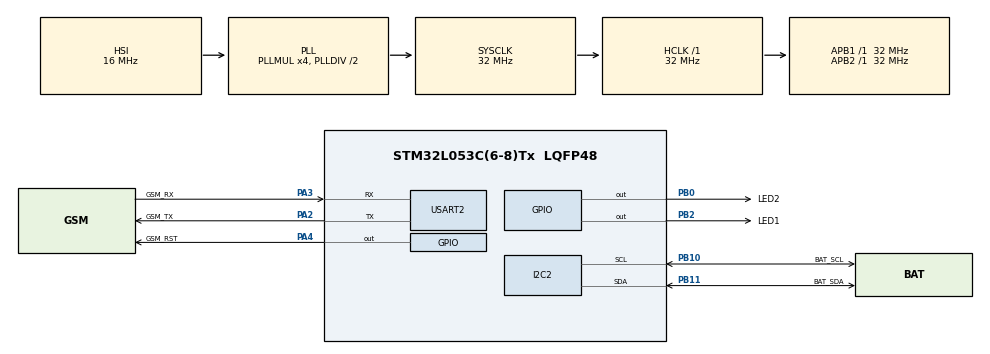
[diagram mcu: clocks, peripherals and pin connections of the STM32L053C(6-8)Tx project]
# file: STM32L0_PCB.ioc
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Dma.Request0=USART2_RX
Dma.USART2_RX.0.Direction=DMA_PERIPH_TO_MEMORY
Dma.USART2_RX.0.Instance=DMA1_Channel5
Dma.USART2_RX.0.MemDataAlignment=DMA_MDATAALIGN_BYTE
Dma.USART2_RX.0.MemInc=DMA_MINC_ENABLE
Dma.USART2_RX.0.Mode=DMA_NORMAL
Dma.USART2_RX.0.PeriphDataAlignment=DMA_PDATAALIGN_BYTE
Dma.USART2_RX.0.PeriphInc=DMA_PINC_DISABLE
Dma.USART2_RX.0.Priority=DMA_PRIORITY_LOW
I2C2.Timing=0x00707CBB
Mcu.Family=STM32L0
Mcu.Name=STM32L053C(6-8)Tx
Mcu.Package=LQFP48
NVIC.DMA1_Channel4_5_6_7_IRQn=true\:0\:0\:false\:false\:true\:false\:true
PA2.GPIO_Label=GSM_TX
PA2.Mode=Asynchronous
PA2.Signal=USART2_TX
PA3.GPIO_Label=GSM_RX
PA3.Mode=Asynchronous
PA3.Signal=USART2_RX
PA4.GPIO_Label=GSM_RST
PA4.Signal=GPIO_Output
PB0.GPIO_Label=LED2
PB0.Signal=GPIO_Output
PB10.GPIO_Label=BAT_SCL
PB10.Mode=I2C
PB10.Signal=I2C2_SCL
PB11.GPIO_Label=BAT_SDA
PB11.Mode=I2C
PB11.Signal=I2C2_SDA
PB2.GPIO_Label=LED1
PB2.Signal=GPIO_Output
ProjectManager.HeapSize=0x200
ProjectManager.StackSize=0x400
ProjectManager.TargetToolchain=SW4STM32
RCC.AHBFreq_Value=32000000
RCC.APB1Freq_Value=32000000
RCC.APB1TimFreq_Value=32000000
RCC.APB2Freq_Value=32000000
RCC.APB2TimFreq_Value=32000000
RCC.HCLKFreq_Value=32000000
RCC.HSE_VALUE=8000000
RCC.HSI16_VALUE=16000000
RCC.HSI48_VALUE=48000000
RCC.HSI_VALUE=16000000
RCC.LSE_VALUE=32768
RCC.MSI_VALUE=2097000
RCC.PLLMUL=RCC_PLLMUL_4
RCC.SYSCLKFreq_VALUE=32000000
RCC.SYSCLKSource=RCC_SYSCLKSOURCE_PLLCLK
RCC.VCOOutputFreq_Value=64000000
USART2.VirtualMode-Asynchronous=VM_ASYNC
board=custom

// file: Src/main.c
/* USER CODE BEGIN Header */
/**
  ******************************************************************************
  * @file           : main.c
  * @brief          : Main program body
  ******************************************************************************
  * @attention
  *
  * <h2><center>&copy; Copyright (c) 2019 STMicroelectronics.
  * All rights reserved.</center></h2>
  *
  * This software component is licensed by ST under BSD 3-Clause license,
  * the "License"; You may not use this file except in compliance with the
  * License. You may obtain a copy of the License at:
  *                        opensource.org/licenses/BSD-3-Clause
  *
  ******************************************************************************
  */
/* USER CODE END Header */

#include "main.h"

/* USER CODE BEGIN Includes */
#include <stdio.h>
/* USER CODE END Includes */

I2C_HandleTypeDef hi2c2;

UART_HandleTypeDef huart2;
DMA_HandleTypeDef hdma_usart2_rx;

void SystemClock_Config(void);
static void MX_GPIO_Init(void);
static void MX_DMA_Init(void);
static void MX_I2C2_Init(void);
static void MX_USART2_UART_Init(void);

int main(void)
{

  /* MCU Configuration--------------------------------------------------------*/

  /* Reset of all peripherals, Initializes the Flash interface and the Systick. */
  HAL_Init();

  /* Configure the system clock */
  SystemClock_Config();

  /* Initialize all configured peripherals */
  MX_GPIO_Init();
  MX_DMA_Init();
  MX_I2C2_Init();
  MX_USART2_UART_Init();
  /* USER CODE BEGIN 2 */

  // --- BATTERY STUFF ---
  HAL_Delay(500);

  FG_I2C_Setup(&hi2c2);

  HAL_Delay(5000);

  // If initialization succeeds
  if (GSM_Init(&huart2) == 1)
  {
      // Turn on red LED
      HAL_GPIO_WritePin(LED2_GPIO_Port, LED2_Pin, GPIO_PIN_SET);

      // If signal strength is >= 3
      if (GSM_Check_Signal(&huart2) >= 3)
      {
          if (text_update(&huart2, TWILIO_PHONE_NUMBER)) // <-- DON'T FORGET TO CHANGE THIS PHONE NUMBER
          {
              // Blink the green LED
              while(1)
              {
                  HAL_GPIO_WritePin(LED1_GPIO_Port, LED1_Pin, GPIO_PIN_SET);
                  HAL_Delay(500);
                  HAL_GPIO_WritePin(LED1_GPIO_Port, LED1_Pin, GPIO_PIN_RESET);
                  HAL_Delay(500);
              }
          }
          else
          {
              // Turn on green LED
              HAL_GPIO_WritePin(LED1_GPIO_Port, LED1_Pin, GPIO_PIN_SET);
          }
      }
      else
      {
          // Blink the red LED
          while(1)
          {
              HAL_GPIO_WritePin(LED2_GPIO_Port, LED2_Pin, GPIO_PIN_SET);
              HAL_Delay(500);
              HAL_GPIO_WritePin(LED2_GPIO_Port, LED2_Pin, GPIO_PIN_RESET);
              HAL_Delay(500);
          }
      }
  }

  /* USER CODE END 2 */

  /* Infinite loop */
  while (1)
  {

  }
}

void SystemClock_Config(void)
{
  RCC_OscInitTypeDef RCC_OscInitStruct = {0};
  RCC_ClkInitTypeDef RCC_ClkInitStruct = {0};
  RCC_PeriphCLKInitTypeDef PeriphClkInit = {0};

  /** Configure the main internal regulator output voltage
  */
  __HAL_PWR_VOLTAGESCALING_CONFIG(PWR_REGULATOR_VOLTAGE_SCALE1);
  /** Initializes the CPU, AHB and APB busses clocks
  */
  RCC_OscInitStruct.OscillatorType = RCC_OSCILLATORTYPE_HSI;
  RCC_OscInitStruct.HSIState = RCC_HSI_ON;
  RCC_OscInitStruct.HSICalibrationValue = RCC_HSICALIBRATION_DEFAULT;
  RCC_OscInitStruct.PLL.PLLState = RCC_PLL_ON;
  RCC_OscInitStruct.PLL.PLLSource = RCC_PLLSOURCE_HSI;
  RCC_OscInitStruct.PLL.PLLMUL = RCC_PLLMUL_4;
  RCC_OscInitStruct.PLL.PLLDIV = RCC_PLLDIV_2;
  if (HAL_RCC_OscConfig(&RCC_OscInitStruct) != HAL_OK)
  {
    Error_Handler();
  }
  /** Initializes the CPU, AHB and APB busses clocks
  */
  RCC_ClkInitStruct.ClockType = RCC_CLOCKTYPE_HCLK|RCC_CLOCKTYPE_SYSCLK
                              |RCC_CLOCKTYPE_PCLK1|RCC_CLOCKTYPE_PCLK2;
  RCC_ClkInitStruct.SYSCLKSource = RCC_SYSCLKSOURCE_PLLCLK;
  RCC_ClkInitStruct.AHBCLKDivider = RCC_SYSCLK_DIV1;
  RCC_ClkInitStruct.APB1CLKDivider = RCC_HCLK_DIV1;
  RCC_ClkInitStruct.APB2CLKDivider = RCC_HCLK_DIV1;

  if (HAL_RCC_ClockConfig(&RCC_ClkInitStruct, FLASH_LATENCY_1) != HAL_OK)
  {
    Error_Handler();
  }
  PeriphClkInit.PeriphClockSelection = RCC_PERIPHCLK_USART2;
  PeriphClkInit.Usart2ClockSelection = RCC_USART2CLKSOURCE_PCLK1;
  if (HAL_RCCEx_PeriphCLKConfig(&PeriphClkInit) != HAL_OK)
  {
    Error_Handler();
  }
}

static void MX_I2C2_Init(void)
{

  hi2c2.Instance = I2C2;
  hi2c2.Init.Timing = 0x00707CBB;
  hi2c2.Init.OwnAddress1 = 0;
  hi2c2.Init.AddressingMode = I2C_ADDRESSINGMODE_7BIT;
  hi2c2.Init.DualAddressMode = I2C_DUALADDRESS_DISABLE;
  hi2c2.Init.OwnAddress2 = 0;
  hi2c2.Init.OwnAddress2Masks = I2C_OA2_NOMASK;
  hi2c2.Init.GeneralCallMode = I2C_GENERALCALL_DISABLE;
  hi2c2.Init.NoStretchMode = I2C_NOSTRETCH_DISABLE;
  if (HAL_I2C_Init(&hi2c2) != HAL_OK)
  {
    Error_Handler();
  }
  /** Configure Analogue filter
  */
  if (HAL_I2CEx_ConfigAnalogFilter(&hi2c2, I2C_ANALOGFILTER_ENABLE) != HAL_OK)
  {
    Error_Handler();
  }
  /** Configure Digital filter
  */
  if (HAL_I2CEx_ConfigDigitalFilter(&hi2c2, 0) != HAL_OK)
  {
    Error_Handler();
  }

}

static void MX_USART2_UART_Init(void)
{

  huart2.Instance = USART2;
  huart2.Init.BaudRate = 115200;
  huart2.Init.WordLength = UART_WORDLENGTH_8B;
  huart2.Init.StopBits = UART_STOPBITS_1;
  huart2.Init.Parity = UART_PARITY_NONE;
  huart2.Init.Mode = UART_MODE_TX_RX;
  huart2.Init.HwFlowCtl = UART_HWCONTROL_NONE;
  huart2.Init.OverSampling = UART_OVERSAMPLING_16;
  huart2.Init.OneBitSampling = UART_ONE_BIT_SAMPLE_DISABLE;
  huart2.AdvancedInit.AdvFeatureInit = UART_ADVFEATURE_NO_INIT;
  if (HAL_UART_Init(&huart2) != HAL_OK)
  {
    Error_Handler();
  }

}

static void MX_DMA_Init(void)
{

  /* DMA controller clock enable */
  __HAL_RCC_DMA1_CLK_ENABLE();

  /* DMA interrupt init */
  /* DMA1_Channel4_5_6_7_IRQn interrupt configuration */
  HAL_NVIC_SetPriority(DMA1_Channel4_5_6_7_IRQn, 0, 0);
  HAL_NVIC_EnableIRQ(DMA1_Channel4_5_6_7_IRQn);

}

static void MX_GPIO_Init(void)
{
  GPIO_InitTypeDef GPIO_InitStruct = {0};

  /* GPIO Ports Clock Enable */
  __HAL_RCC_GPIOA_CLK_ENABLE();
  __HAL_RCC_GPIOB_CLK_ENABLE();

  /*Configure GPIO pin Output Level */
  HAL_GPIO_WritePin(GSM_RST_GPIO_Port, GSM_RST_Pin, GPIO_PIN_RESET);

  /*Configure GPIO pin Output Level */
  HAL_GPIO_WritePin(GPIOB, LED2_Pin|LED1_Pin, GPIO_PIN_RESET);

  /*Configure GPIO pin : GSM_RST_Pin */
  GPIO_InitStruct.Pin = GSM_RST_Pin;
  GPIO_InitStruct.Mode = GPIO_MODE_OUTPUT_PP;
  GPIO_InitStruct.Pull = GPIO_NOPULL;
  GPIO_InitStruct.Speed = GPIO_SPEED_FREQ_LOW;
  HAL_GPIO_Init(GSM_RST_GPIO_Port, &GPIO_InitStruct);

  /*Configure GPIO pins : LED2_Pin LED1_Pin */
  GPIO_InitStruct.Pin = LED2_Pin|LED1_Pin;
  GPIO_InitStruct.Mode = GPIO_MODE_OUTPUT_PP;
  GPIO_InitStruct.Pull = GPIO_NOPULL;
  GPIO_InitStruct.Speed = GPIO_SPEED_FREQ_LOW;
  HAL_GPIO_Init(GPIOB, &GPIO_InitStruct);

}

void Error_Handler(void)
{
}

/************************ (C) COPYRIGHT STMicroelectronics *****END OF FILE****/
